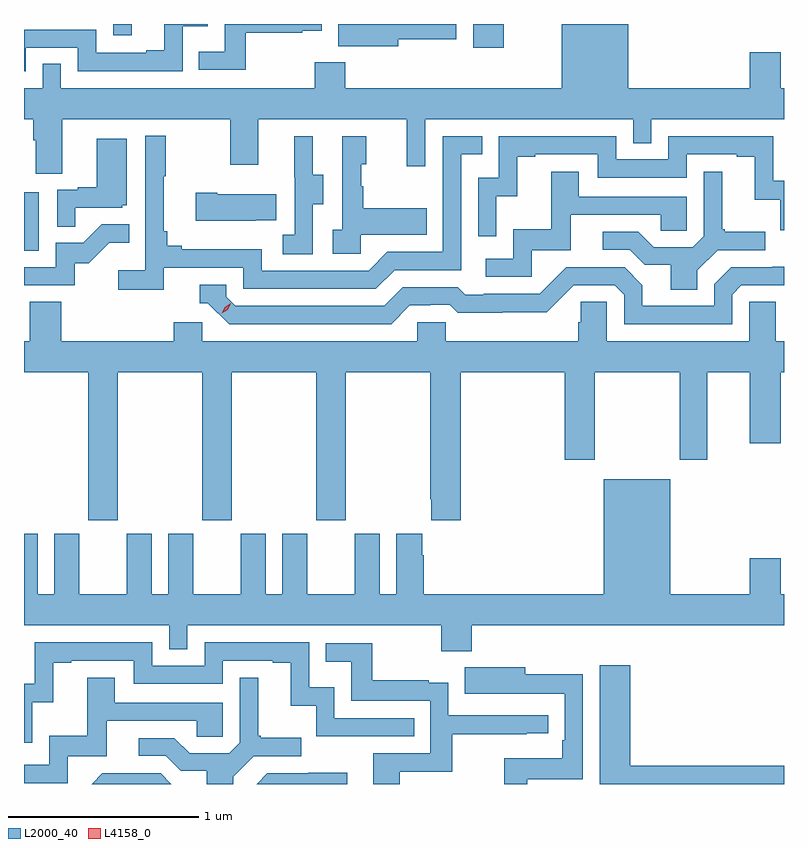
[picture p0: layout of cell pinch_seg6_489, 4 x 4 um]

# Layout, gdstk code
import gdstk
lib = gdstk.Library(unit=1e-6, precision=1e-09)
def R(c, l, rs):  # rectangles x0, y0, x1, y1
    for r in rs: c.add(gdstk.rectangle(r[:2], r[2:], *l))
def P(c, l, *ps):  # polygons
    for p in ps: c.add(gdstk.Polygon(p, *l))
L2000_40 = (2000, 40)
L4158_0 = (4158, 0)

pinch_seg6_489 = lib.new_cell('pinch_seg6_489')
R(pinch_seg6_489, L2000_40, [(868.48,933.324,868.558,933.631), (870.845,934.392,871.006,934.517), (868.95,934.458,869.047,934.517)])
P(pinch_seg6_489, L2000_40, [(869.647,934.47),(869.945,934.47),(869.945,934.481),(870.048,934.481),(870.048,934.517),(869.536,934.517),(869.536,934.372),(869.401,934.372),(869.401,934.275),(869.647,934.275)],
  [(868.681,934.016),(869.566,934.016),(869.566,933.777),(869.713,933.777),(869.713,934.016),(870.494,934.016),(870.494,933.768),(870.591,933.768),(870.591,934.016),(871.686,934.016),(871.686,933.889),(871.782,933.889),(871.782,934.016),(872.48,934.016),(872.48,934.18),(872.464,934.18),(872.464,934.369),(872.3,934.369),(872.3,934.18),(871.66,934.18),(871.66,934.517),(871.31,934.517),(871.31,934.18),(870.17,934.18),(870.17,934.315),(870.01,934.315),(870.01,934.18),(868.674,934.18),(868.674,934.307),(868.578,934.307),(868.578,934.18),(868.48,934.18),(868.48,934.016),(868.529,934.016),(868.529,933.904),(868.541,933.904),(868.541,933.73),(868.681,933.73)],
  [(868.488,934.392),(868.764,934.392),(868.764,934.269),(869.316,934.269),(869.316,934.505),(869.448,934.505),(869.448,934.517),(869.219,934.517),(869.219,934.378),(869.123,934.378),(869.123,934.365),(868.86,934.365),(868.86,934.488),(868.48,934.488),(868.48,934.269),(868.488,934.269)],
  [(870.451,934.438),(870.756,934.438),(870.756,934.517),(870.133,934.517),(870.133,934.4),(870.451,934.4)],
  [(869.216,933.234),(869.634,933.234),(869.634,933.123),(870.331,933.123),(870.43,933.222),(870.78,933.222),(870.78,933.831),(870.893,933.831),(870.893,933.927),(870.684,933.927),(870.684,933.318),(870.393,933.318),(870.294,933.219),(869.73,933.219),(869.73,933.331),(869.311,933.331),(869.311,933.35),(869.234,933.35),(869.234,933.427),(869.215,933.427),(869.215,933.715),(869.227,933.715),(869.227,933.928),(869.118,933.928),(869.118,933.22),(868.977,933.22),(868.977,933.118),(869.216,933.118)],
  [(870.966,933.611),(871.076,933.611),(871.076,933.819),(871.171,933.819),(871.171,933.831),(871.5,933.831),(871.5,933.708),(871.968,933.708),(871.968,933.831),(872.231,933.831),(872.231,933.819),(872.327,933.819),(872.327,933.593),(872.46,933.593),(872.46,933.432),(872.48,933.432),(872.48,933.691),(872.424,933.691),(872.424,933.927),(871.872,933.927),(871.872,933.804),(871.596,933.804),(871.596,933.927),(870.978,933.927),(870.978,933.708),(870.87,933.708),(870.87,933.399),(870.966,933.399)],
  [(870.252,933.407),(870.599,933.407),(870.599,933.547),(870.265,933.547),(870.265,933.662),(870.255,933.662),(870.255,933.78),(870.28,933.78),(870.28,933.925),(870.156,933.925),(870.156,933.434),(870.105,933.434),(870.105,933.309),(870.252,933.309)],
  [(870,933.568),(870.055,933.568),(870.055,933.723),(870.001,933.723),(870.001,933.925),(869.903,933.925),(869.903,933.711),(869.904,933.711),(869.904,933.407),(869.841,933.407),(869.841,933.304),(870,933.304)],
  [(868.751,933.549),(868.998,933.549),(868.998,933.564),(869.02,933.564),(869.02,933.913),(868.862,933.913),(868.862,933.658),(868.763,933.658),(868.763,933.645),(868.656,933.645),(868.656,933.451),(868.751,933.451)],
  [(871.152,933.327),(871.357,933.327),(871.357,933.513),(871.831,933.513),(871.831,933.429),(871.968,933.429),(871.968,933.609),(871.399,933.609),(871.399,933.739),(871.255,933.739),(871.255,933.436),(871.056,933.436),(871.056,933.282),(870.909,933.282),(870.909,933.186),(871.152,933.186)],
  [(872.023,933.22),(872.13,933.327),(872.38,933.327),(872.38,933.424),(872.167,933.424),(872.167,933.436),(872.155,933.436),(872.155,933.739),(872.058,933.739),(872.058,933.399),(872.001,933.342),(871.795,933.342),(871.714,933.423),(871.527,933.423),(871.527,933.33),(871.668,933.33),(871.748,933.25),(871.883,933.25),(871.883,933.118),(872.023,933.118)],
  [(869.699,933.485),(869.807,933.485),(869.807,933.622),(869.497,933.622),(869.497,933.63),(869.385,933.63),(869.385,933.482),(869.699,933.482)],
  [(868.746,933.258),(868.822,933.258),(868.929,933.365),(869.033,933.365),(869.033,933.464),(868.889,933.464),(868.791,933.366),(868.647,933.366),(868.647,933.237),(868.48,933.237),(868.48,933.141),(868.746,933.141)],
  [(870.511,933.036),(870.618,933.036),(870.618,933.039),(870.721,933.039),(870.763,932.997),(870.996,932.997),(870.996,932.999),(871.232,932.999),(871.374,933.141),(871.59,933.141),(871.638,933.093),(871.638,932.937),(872.208,932.937),(872.208,933.093),(872.256,933.141),(872.48,933.141),(872.48,933.239),(872.418,933.239),(872.418,933.237),(872.202,933.237),(872.112,933.147),(872.112,933.033),(871.735,933.033),(871.735,933.143),(871.641,933.237),(871.335,933.237),(871.194,933.096),(870.901,933.096),(870.901,933.093),(870.802,933.093),(870.763,933.132),(870.474,933.132),(870.375,933.033),(869.592,933.033),(869.544,933.081),(869.544,933.144),(869.405,933.144),(869.405,933.048),(869.448,933.048),(869.559,932.937),(870.412,932.937)],
  [(869.418,932.946),(869.267,932.946),(869.267,932.848),(868.676,932.848),(868.676,933.056),(868.511,933.056),(868.511,932.848),(868.48,932.848),(868.48,932.684),(868.819,932.684),(868.819,931.905),(868.974,931.905),(868.974,932.684),(869.419,932.684),(869.419,931.905),(869.574,931.905),(869.574,932.684),(870.019,932.684),(870.019,931.905),(870.174,931.905),(870.174,932.684),(870.619,932.684),(870.619,932.017),(870.623,932.017),(870.623,931.905),(870.779,931.905),(870.779,932.684),(871.325,932.684),(871.325,932.223),(871.485,932.223),(871.485,932.684),(871.93,932.684),(871.93,932.223),(872.077,932.223),(872.077,932.684),(872.3,932.684),(872.3,932.31),(872.464,932.31),(872.464,932.684),(872.48,932.684),(872.48,932.848),(872.437,932.848),(872.437,933.056),(872.298,933.056),(872.298,932.848),(871.548,932.848),(871.548,933.056),(871.411,933.056),(871.411,932.946),(871.397,932.946),(871.397,932.848),(870.699,932.848),(870.699,932.946),(870.549,932.946),(870.549,932.848),(869.418,932.848)],
  [(870.836,931.352),(872.48,931.352),(872.48,931.516),(872.464,931.516),(872.464,931.705),(872.3,931.705),(872.3,931.516),(871.882,931.516),(871.882,932.122),(871.532,932.122),(871.532,931.516),(870.584,931.516),(870.584,931.721),(870.577,931.721),(870.577,931.834),(870.44,931.834),(870.44,931.516),(870.352,931.516),(870.352,931.834),(870.221,931.834),(870.221,931.516),(869.971,931.516),(869.971,931.834),(869.84,931.834),(869.84,931.516),(869.752,931.516),(869.752,931.834),(869.621,931.834),(869.621,931.516),(869.371,931.516),(869.371,931.834),(869.24,931.834),(869.24,931.516),(869.152,931.516),(869.152,931.834),(869.021,931.834),(869.021,931.516),(868.771,931.516),(868.771,931.834),(868.64,931.834),(868.64,931.516),(868.552,931.516),(868.552,931.834),(868.48,931.834),(868.48,931.352),(869.244,931.352),(869.244,931.225),(869.34,931.225),(869.34,931.352),(870.676,931.352),(870.676,931.217),(870.836,931.217)],
  [(868.524,930.947),(868.634,930.947),(868.634,931.155),(868.729,931.155),(868.729,931.167),(869.058,931.167),(869.058,931.044),(869.526,931.044),(869.526,931.167),(869.789,931.167),(869.789,931.155),(869.885,931.155),(869.885,930.929),(870.018,930.929),(870.018,930.768),(870.533,930.768),(870.533,930.864),(870.114,930.864),(870.114,931.027),(869.982,931.027),(869.982,931.263),(869.43,931.263),(869.43,931.14),(869.154,931.14),(869.154,931.263),(868.536,931.263),(868.536,931.044),(868.48,931.044),(868.48,930.735),(868.524,930.735)],
  [(870.457,930.582),(870.734,930.582),(870.734,930.778),(871.127,930.778),(871.127,930.783),(871.24,930.783),(871.24,930.879),(870.714,930.879),(870.714,931.051),(870.611,931.051),(870.611,931.063),(870.313,931.063),(870.313,931.257),(870.067,931.257),(870.067,931.16),(870.202,931.16),(870.202,930.954),(870.618,930.954),(870.618,930.678),(870.317,930.678),(870.317,930.517),(870.457,930.517)],
  [(872.48,930.614),(871.672,930.614),(871.672,931.141),(871.511,931.141),(871.511,930.517),(872.48,930.517)],
  [(871.129,930.543),(871.422,930.543),(871.422,931.094),(871.117,931.094),(871.117,931.132),(870.799,931.132),(870.799,930.992),(871.013,930.992),(871.013,930.993),(871.326,930.993),(871.326,930.748),(871.313,930.748),(871.313,930.652),(871.008,930.652),(871.008,930.517),(871.129,930.517)],
  [(869.581,930.556),(869.688,930.663),(869.938,930.663),(869.938,930.76),(869.725,930.76),(869.725,930.772),(869.713,930.772),(869.713,931.075),(869.616,931.075),(869.616,930.735),(869.559,930.678),(869.353,930.678),(869.272,930.759),(869.085,930.759),(869.085,930.666),(869.226,930.666),(869.306,930.586),(869.441,930.586),(869.441,930.517),(869.581,930.517)],
  [(868.71,930.663),(868.915,930.663),(868.915,930.849),(869.389,930.849),(869.389,930.765),(869.526,930.765),(869.526,930.945),(868.957,930.945),(868.957,931.075),(868.813,931.075),(868.813,930.772),(868.614,930.772),(868.614,930.618),(868.48,930.618),(868.48,930.522),(868.71,930.522)],
  [(870.181,930.575),(869.976,930.575),(869.976,930.573),(869.76,930.573),(869.704,930.517),(870.181,930.517)],
  [(869.199,930.573),(868.893,930.573),(868.837,930.517),(869.255,930.517)])
P(pinch_seg6_489, L4158_0, [(869.521,932.995),(869.521,932.995),(869.537,933.027),(869.568,933.046),(869.569,933.046),(869.569,933.046),(869.552,933.013),(869.521,932.995)])

lib.write_gds('pinch_seg6_489.gds')
